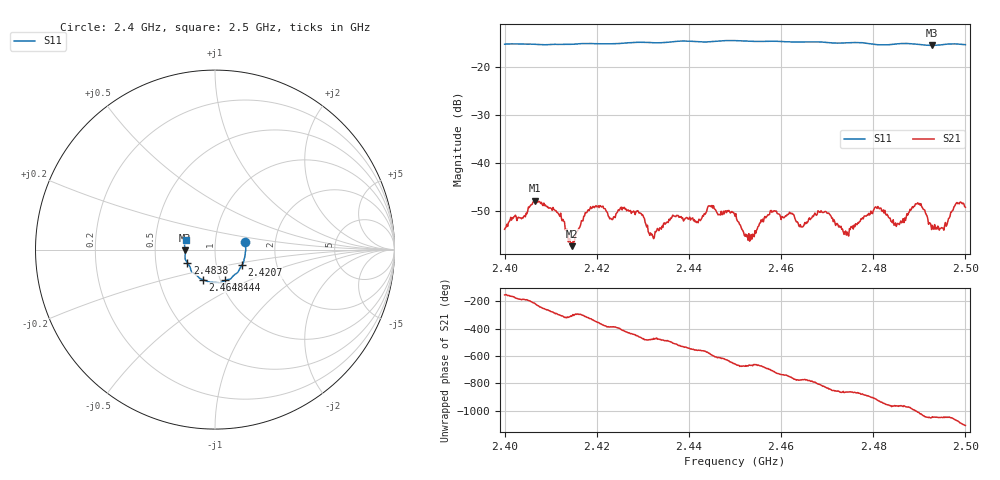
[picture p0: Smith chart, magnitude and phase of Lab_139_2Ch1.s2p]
# Hz S RI R 50
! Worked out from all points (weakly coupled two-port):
!   601 points, 2.4 GHz to 2.5 GHz, reference 50 ohm
!   highest |S21| = -47.95 dB at 2.4065 GHz (marker M1); lowest = -57.4 dB at 2.4147 GHz (marker M2)
!   lowest |S11| = -15.6 dB at 2.4928 GHz (marker M3), VSWR 1.40, Z = 35.7 - j0.314 ohm
!   |S11| at or under -10 dB: start of sweep to end of sweep
!   S12 and S22 are empty: the file has one direction only
!   S11 on the Smith chart (normalised r, x): 2.4 GHz: 1.39, +0.12; 2.4207 GHz: 1.33, -0.23; 2.444 GHz: 1.05, -0.37; 2.4648 GHz: 0.83, -0.29; 2.4838 GHz: 0.73, -0.11; 2.5 GHz: 0.72, +0.08
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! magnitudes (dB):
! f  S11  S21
! 2.4 GHz  -15.3  -53.9
! 2.4065 GHz  -15.3  -47.9
! 2.4117 GHz  -15.4  -50.6
! 2.4147 GHz  -15.3  -57.4
! 2.4167 GHz  -15.2  -52.1
! 2.4207 GHz  -15.2  -49.0
! 2.4292 GHz  -14.9  -50.5
! 2.4333 GHz  -15.0  -54.0
! 2.444 GHz  -14.9  -49.5
! 2.45 GHz  -14.6  -51.1
! 2.4532 GHz  -14.7  -56.4
! 2.4582 GHz  -14.7  -50.1
! 2.4648 GHz  -14.9  -53.2
! 2.4667 GHz  -14.8  -51.5
! 2.47 GHz  -15.0  -50.5
! 2.4742 GHz  -15.0  -55.1
! 2.4807 GHz  -15.4  -49.3
! 2.4833 GHz  -15.4  -51.4
! 2.4838 GHz  -15.4  -52.2
! 2.4898 GHz  -15.4  -48.6
! 2.4928 GHz  -15.6  -53.1
! 2.5 GHz  -15.4  -49.3
